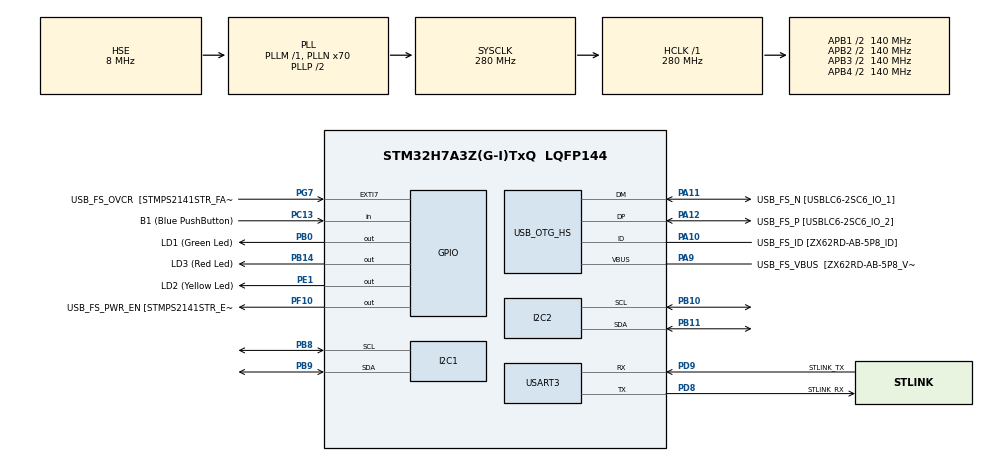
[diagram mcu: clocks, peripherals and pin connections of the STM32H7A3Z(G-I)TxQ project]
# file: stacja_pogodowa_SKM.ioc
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Dma.I2C2_TX.0.Direction=DMA_MEMORY_TO_PERIPH
Dma.I2C2_TX.0.EventEnable=DISABLE
Dma.I2C2_TX.0.FIFOMode=DMA_FIFOMODE_DISABLE
Dma.I2C2_TX.0.Instance=DMA1_Stream0
Dma.I2C2_TX.0.MemDataAlignment=DMA_MDATAALIGN_BYTE
Dma.I2C2_TX.0.MemInc=DMA_MINC_ENABLE
Dma.I2C2_TX.0.Mode=DMA_CIRCULAR
Dma.I2C2_TX.0.PeriphDataAlignment=DMA_PDATAALIGN_BYTE
Dma.I2C2_TX.0.PeriphInc=DMA_PINC_DISABLE
Dma.I2C2_TX.0.Polarity=HAL_DMAMUX_REQ_GEN_RISING
Dma.I2C2_TX.0.Priority=DMA_PRIORITY_LOW
Dma.I2C2_TX.0.RequestNumber=1
Dma.I2C2_TX.0.SignalID=NONE
Dma.I2C2_TX.0.SyncEnable=DISABLE
Dma.I2C2_TX.0.SyncPolarity=HAL_DMAMUX_SYNC_NO_EVENT
Dma.I2C2_TX.0.SyncRequestNumber=1
Dma.I2C2_TX.0.SyncSignalID=NONE
Dma.Request0=I2C2_TX
Dma.Request1=USART3_TX
Dma.USART3_TX.1.Direction=DMA_MEMORY_TO_PERIPH
Dma.USART3_TX.1.EventEnable=DISABLE
Dma.USART3_TX.1.FIFOMode=DMA_FIFOMODE_DISABLE
Dma.USART3_TX.1.Instance=DMA1_Stream1
Dma.USART3_TX.1.MemDataAlignment=DMA_MDATAALIGN_BYTE
Dma.USART3_TX.1.MemInc=DMA_MINC_ENABLE
Dma.USART3_TX.1.Mode=DMA_CIRCULAR
Dma.USART3_TX.1.PeriphDataAlignment=DMA_PDATAALIGN_BYTE
Dma.USART3_TX.1.PeriphInc=DMA_PINC_DISABLE
Dma.USART3_TX.1.Polarity=HAL_DMAMUX_REQ_GEN_RISING
Dma.USART3_TX.1.Priority=DMA_PRIORITY_LOW
Dma.USART3_TX.1.RequestNumber=1
Dma.USART3_TX.1.SignalID=NONE
Dma.USART3_TX.1.SyncEnable=DISABLE
Dma.USART3_TX.1.SyncPolarity=HAL_DMAMUX_SYNC_NO_EVENT
Dma.USART3_TX.1.SyncRequestNumber=1
Dma.USART3_TX.1.SyncSignalID=NONE
I2C1.Timing=0x20B0CCFF
I2C2.Timing=0x20B0CCFF
Mcu.Family=STM32H7
Mcu.Name=STM32H7A3Z(G-I)TxQ
Mcu.Package=LQFP144
NVIC.DMA1_Stream0_IRQn=true\:0\:0\:false\:false\:true\:false\:true\:true
NVIC.DMA1_Stream1_IRQn=true\:0\:0\:false\:false\:true\:false\:true\:true
NVIC.PriorityGroup=NVIC_PRIORITYGROUP_4
PA10.GPIO_Label=USB_FS_ID [ZX62RD-AB-5P8_ID]
PA10.Mode=OTG/Dual-Role-Device-FS
PA10.Signal=USB_OTG_HS_ID
PA11.GPIO_Label=USB_FS_N [USBLC6-2SC6_IO_1]
PA11.Mode=OTG/Dual-Role-Device-FS
PA11.Signal=USB_OTG_HS_DM
PA12.GPIO_Label=USB_FS_P [USBLC6-2SC6_IO_2]
PA12.Mode=OTG/Dual-Role-Device-FS
PA12.Signal=USB_OTG_HS_DP
PA9.GPIO_Label=USB_FS_VBUS  [ZX62RD-AB-5P8_VBUS]
PA9.Mode=Activate_VBUS_FS
PA9.Signal=USB_OTG_HS_VBUS
PB0.GPIO_Label=LD1 (Green Led)
PB0.Signal=GPIO_Output
PB10.Mode=I2C
PB10.Signal=I2C2_SCL
PB11.Mode=I2C
PB11.Signal=I2C2_SDA
PB14.GPIO_Label=LD3 (Red Led)
PB14.Signal=GPIO_Output
PB8.GPIO_Pu=GPIO_PULLUP
PB8.Mode=I2C
PB8.Signal=I2C1_SCL
PB9.GPIO_Pu=GPIO_PULLUP
PB9.Mode=I2C
PB9.Signal=I2C1_SDA
PC13.GPIO_Label=B1 (Blue PushButton)
PC13.Signal=GPIO_Input
PC14-OSC32_IN.GPIO_Label=OSC32_IN
PC14-OSC32_IN.Mode=LSE-External-Oscillator
PC14-OSC32_IN.Signal=RCC_OSC32_IN
PC15-OSC32_OUT.GPIO_Label=OSC32_OUT
PC15-OSC32_OUT.Mode=LSE-External-Oscillator
PC15-OSC32_OUT.Signal=RCC_OSC32_OUT
PD8.GPIO_Label=STLINK_RX
PD8.Mode=Asynchronous
PD8.Signal=USART3_TX
PD9.GPIO_Label=STLINK_TX
PD9.Mode=Asynchronous
PD9.Signal=USART3_RX
PE1.GPIO_Label=LD2 (Yellow Led)
PE1.Signal=GPIO_Output
PF10.GPIO_Label=USB_FS_PWR_EN [STMPS2141STR_EN]
PF10.Signal=GPIO_Output
PG7.GPIO_Label=USB_FS_OVCR  [STMPS2141STR_FAULT]
PG7.Signal=GPXTI7
PH0-OSC_IN.GPIO_Label=PH0-MCU
PH0-OSC_IN.Mode=HSE-External-Clock-Source
PH0-OSC_IN.Signal=RCC_OSC_IN
PH1-OSC_OUT.GPIO_Label=PH1-MCU
PH1-OSC_OUT.Signal=RCC_OSC_OUT
ProjectManager.HeapSize=0x200
ProjectManager.StackSize=0x400
ProjectManager.TargetToolchain=STM32CubeIDE
RCC.ADCFreq_Value=16125000
RCC.APB1Freq_Value=140000000
RCC.APB2Freq_Value=140000000
RCC.APB3Freq_Value=140000000
RCC.APB4Freq_Value=140000000
RCC.CDPPRE=RCC_APB3_DIV2
RCC.CDPPRE1=RCC_APB1_DIV2
RCC.CDPPRE2=RCC_APB2_DIV2
RCC.CortexFreq_Value=280000000
RCC.DIVM1=1
RCC.DIVM3=1
RCC.DIVN1=70
RCC.DIVN3=24
RCC.DIVQ1=4
RCC.HCLKFreq_Value=280000000
RCC.HSE_VALUE=8000000
RCC.PLLFRACN=0
RCC.PLLSourceVirtual=RCC_PLLSOURCE_HSE
RCC.PWR_Regulator_Voltage_Scale=PWR_REGULATOR_VOLTAGE_SCALE0
RCC.SRDPPRE=RCC_APB4_DIV2
RCC.SYSCLKFreq_VALUE=280000000
RCC.SYSCLKSource=RCC_SYSCLKSOURCE_PLLCLK
RCC.SupplySource=PWR_DIRECT_SMPS_SUPPLY
RCC.USBCLockSelection=RCC_USBCLKSOURCE_HSI48
RCC.USBFreq_Value=48000000
USART3.VirtualMode-Asynchronous=VM_ASYNC
board=NUCLEO-H7A3ZI-Q

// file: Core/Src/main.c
/* USER CODE BEGIN Header */
/**
  ******************************************************************************
  * @file           : main.c
  * @brief          : Main program body
  ******************************************************************************
  * @attention
  *
  * Copyright (c) 2022 STMicroelectronics.
  * All rights reserved.
  *
  * This software is licensed under terms that can be found in the LICENSE file
  * in the root directory of this software component.
  * If no LICENSE file comes with this software, it is provided AS-IS.
  *
  ******************************************************************************
  */
/* USER CODE END Header */
#include "main.h"
#include "dma.h"
#include "i2c.h"
#include "usart.h"
#include "usb_otg.h"
#include "gpio.h"

/* USER CODE BEGIN Includes */

#include "gy86/MS5611.h"
#include "soft_timer/soft_timer.h"
#include "SSD1306/ssd1306.h"
#include <stdio.h>
#include <string.h>

/* USER CODE END Includes */

/* USER CODE BEGIN PD */
#define SENSOR_I2C hi2c1

/* USER CODE END PD */

/* USER CODE BEGIN PV */
char messageSensor[40];
char* formatSensor = "T:%d *C P:%d hPa";

char messageUart[40];
char* formatUart = "tim: %d, T: %d, P: %d \r\n";
/* USER CODE END PV */

void SystemClock_Config(void);
/* USER CODE BEGIN PFP */
void callbackMS5611(void);
void callbackSSD1306(void);
void callbackUart(void);
/* USER CODE END PFP */

int main(void)
{

  /* MCU Configuration--------------------------------------------------------*/

  /* Reset of all peripherals, Initializes the Flash interface and the Systick. */
  HAL_Init();

  /* Configure the system clock */
  SystemClock_Config();

  /* USER CODE BEGIN SysInit */
  MX_DMA_Init();
  /* USER CODE END SysInit */

  /* Initialize all configured peripherals */
  MX_GPIO_Init();
  MX_USART3_UART_Init();
  MX_USB_OTG_HS_USB_Init();
  MX_I2C2_Init();
  MX_I2C1_Init();
  /* USER CODE BEGIN 2 */

  //sensor
  MS5611_Reset(&SENSOR_I2C, &MS5611);
  MS5611_ReadProm(&SENSOR_I2C, &MS5611);
  TimerId timerIdMS5611;
  timerIdMS5611 = softTimerRegisterCallback(callbackMS5611, 100);
  softTimerChangeState(timerIdMS5611, timerRUN);

  //display
  ssd1306_Init();
  TimerId timerIdSSD1306;
  timerIdSSD1306 = softTimerRegisterCallback(callbackSSD1306, 500);
  softTimerChangeState(timerIdSSD1306, timerRUN);

  //uart
  TimerId timerIdUART;
  timerIdUART = softTimerRegisterCallback(callbackUart, 1000);
  softTimerChangeState(timerIdUART, timerRUN);

  /* USER CODE END 2 */

  /* Infinite loop */
  while (1)
  {

    /* USER CODE BEGIN 3 */
	softTimerEvent();
  }
  /* USER CODE END 3 */
}

void SystemClock_Config(void)
{
  RCC_OscInitTypeDef RCC_OscInitStruct = {0};
  RCC_ClkInitTypeDef RCC_ClkInitStruct = {0};

  /** Supply configuration update enable
  */
  HAL_PWREx_ConfigSupply(PWR_DIRECT_SMPS_SUPPLY);

  /** Configure the main internal regulator output voltage
  */
  __HAL_PWR_VOLTAGESCALING_CONFIG(PWR_REGULATOR_VOLTAGE_SCALE0);

  while(!__HAL_PWR_GET_FLAG(PWR_FLAG_VOSRDY)) {}

  /** Initializes the RCC Oscillators according to the specified parameters
  * in the RCC_OscInitTypeDef structure.
  */
  RCC_OscInitStruct.OscillatorType = RCC_OSCILLATORTYPE_HSI48|RCC_OSCILLATORTYPE_HSE;
  RCC_OscInitStruct.HSEState = RCC_HSE_BYPASS;
  RCC_OscInitStruct.HSI48State = RCC_HSI48_ON;
  RCC_OscInitStruct.PLL.PLLState = RCC_PLL_ON;
  RCC_OscInitStruct.PLL.PLLSource = RCC_PLLSOURCE_HSE;
  RCC_OscInitStruct.PLL.PLLM = 1;
  RCC_OscInitStruct.PLL.PLLN = 70;
  RCC_OscInitStruct.PLL.PLLP = 2;
  RCC_OscInitStruct.PLL.PLLQ = 4;
  RCC_OscInitStruct.PLL.PLLR = 2;
  RCC_OscInitStruct.PLL.PLLRGE = RCC_PLL1VCIRANGE_3;
  RCC_OscInitStruct.PLL.PLLVCOSEL = RCC_PLL1VCOWIDE;
  RCC_OscInitStruct.PLL.PLLFRACN = 0;
  if (HAL_RCC_OscConfig(&RCC_OscInitStruct) != HAL_OK)
  {
    Error_Handler();
  }

  /** Initializes the CPU, AHB and APB buses clocks
  */
  RCC_ClkInitStruct.ClockType = RCC_CLOCKTYPE_HCLK|RCC_CLOCKTYPE_SYSCLK
                              |RCC_CLOCKTYPE_PCLK1|RCC_CLOCKTYPE_PCLK2
                              |RCC_CLOCKTYPE_D3PCLK1|RCC_CLOCKTYPE_D1PCLK1;
  RCC_ClkInitStruct.SYSCLKSource = RCC_SYSCLKSOURCE_PLLCLK;
  RCC_ClkInitStruct.SYSCLKDivider = RCC_SYSCLK_DIV1;
  RCC_ClkInitStruct.AHBCLKDivider = RCC_HCLK_DIV1;
  RCC_ClkInitStruct.APB3CLKDivider = RCC_APB3_DIV2;
  RCC_ClkInitStruct.APB1CLKDivider = RCC_APB1_DIV2;
  RCC_ClkInitStruct.APB2CLKDivider = RCC_APB2_DIV2;
  RCC_ClkInitStruct.APB4CLKDivider = RCC_APB4_DIV2;

  if (HAL_RCC_ClockConfig(&RCC_ClkInitStruct, FLASH_LATENCY_7) != HAL_OK)
  {
    Error_Handler();
  }
}

/* USER CODE BEGIN 4 */

//periodically read data from MS5611 and transmit them
void callbackMS5611(void)
{
	MS5611_RequestTemperature(&SENSOR_I2C, OSR_4096);
	HAL_Delay(10);
	MS5611_ReadTemperature(&SENSOR_I2C, &MS5611);
	MS5611_CalculateTemperature(&MS5611);

	MS5611_RequestPressure(&SENSOR_I2C, OSR_4096);
	HAL_Delay(10);
	MS5611_ReadPressure(&SENSOR_I2C, &MS5611);
	MS5611_CalculatePressure(&MS5611);

}

void callbackUart(void)
{
	sprintf(messageUart, formatUart, HAL_GetTick(), MS5611.TEMP, MS5611.P);
	//HAL_UART_Transmit_DMA(&huart3, (uint8_t*)messageUart, strlen(messageUart));
	HAL_UART_Transmit(&huart3, (uint8_t*)messageUart, strlen(messageUart), HAL_MAX_DELAY);
}

//periodically display data on OLED
void callbackSSD1306(void)
{
	ssd1306_Fill(Black);
	sprintf(messageSensor, formatSensor, MS5611.TEMP/100, MS5611.P/100);
	ssd1306_SetCursor(0, 0);
	ssd1306_WriteString(messageSensor, Font_7x10, White);
	ssd1306_UpdateScreen();
}

/* USER CODE END 4 */

void Error_Handler(void)
{
  __disable_irq();
  while (1)
  {
  }
}
